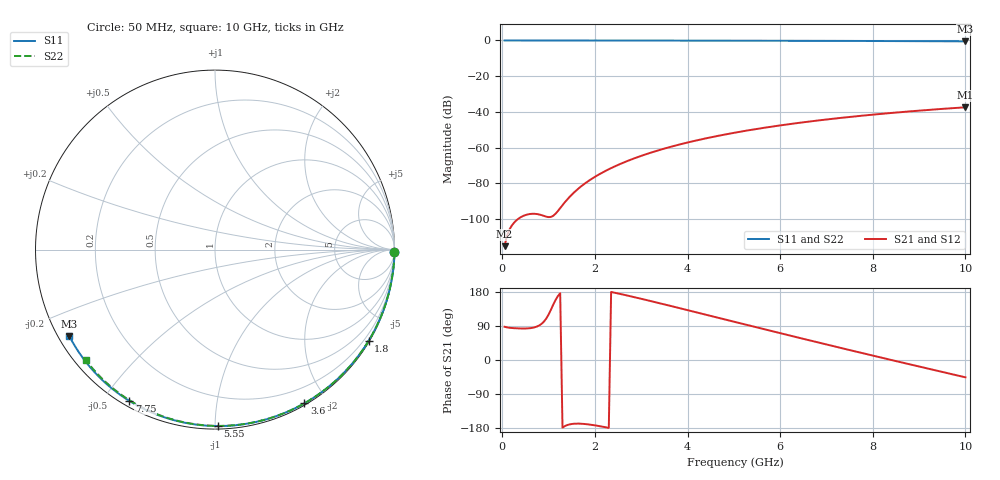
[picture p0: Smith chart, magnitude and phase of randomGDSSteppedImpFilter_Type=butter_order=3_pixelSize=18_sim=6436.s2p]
! freq	dB(S11)	phase(S11)	dB(S12)	phase(S12)
!  dB(S21)	phase(S21)	dB(S22)	phase(S22)
!S-par simulation data
#  GHz  S  DB  R 50
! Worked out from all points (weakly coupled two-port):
!   200 points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, 50 MHz to 10 GHz, reference 50 ohm
!   highest |S21| = -37.45 dB at 10 GHz (marker M1); lowest = -115.3 dB at 50 MHz (marker M2)
!   lowest |S11| = -0.5 dB at 10 GHz (marker M3), VSWR 34.59, Z = 1.55 - j13.7 ohm
!   |S11| at or under -10 dB: nowhere
!   |S22| runs from -0.5 to 0.0 dB; largest |S21 - S12| = 0
!   S11 on the Smith chart (normalised r, x): 50 MHz: open; 1.8 GHz: 0.03, -3.64; 3.6 GHz: 0.02, -1.74; 5.55 GHz: 0.02, -1.02; 7.75 GHz: 0.02, -0.58; 10 GHz: 0.03, -0.27
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0.05  -0.00 -0.9  -115.28 87.7  -115.28 87.7  -0.00 -0.8
0.45  -0.01 -7.8  -98.35 83.1  -98.35 83.1  -0.01 -7.3
0.9  -0.02 -15.5  -98.33 101.5  -98.33 101.5  -0.02 -14.4
1.3  -0.03 -22.3  -92.29 -178.4  -92.29 -178.4  -0.03 -20.8
1.75  -0.04 -29.9  -80.81 -168.6  -80.81 -168.6  -0.04 -27.8
1.8  -0.04 -30.7  -79.85 -169.1  -79.85 -169.1  -0.04 -28.6
1.95  -0.04 -33.2  -77.22 -171.5  -77.22 -171.5  -0.04 -30.9
2.1  -0.05 -35.7  -74.91 -174.5  -74.91 -174.5  -0.04 -33.3
2.3  -0.05 -39.0  -72.17 -179.2  -72.17 -179.2  -0.05 -36.3
2.5  -0.05 -42.3  -69.74 175.6  -69.74 175.6  -0.05 -39.4
2.9  -0.06 -48.8  -65.59 164.4  -65.59 164.4  -0.06 -45.5
3.4  -0.08 -56.7  -61.34 149.7  -61.34 149.7  -0.07 -52.9
3.6  -0.08 -59.9  -59.86 143.7  -59.86 143.7  -0.08 -55.9
4.3  -0.10 -70.6  -55.40 122.5  -55.40 122.5  -0.09 -66.0
5.05  -0.13 -81.8  -51.54 99.6  -51.54 99.6  -0.12 -76.5
5.55  -0.15 -89.1  -49.36 84.4  -49.36 84.4  -0.14 -83.3
6.1  -0.17 -96.9  -47.24 67.8  -47.24 67.8  -0.16 -90.7
6.7  -0.20 -105.3  -45.21 49.9  -45.21 49.9  -0.19 -98.5
7.75  -0.28 -119.5  -42.20 18.9  -42.20 18.9  -0.26 -111.9
8.35  -0.33 -127.5  -40.74 1.5  -40.74 1.5  -0.31 -119.3
9.2  -0.41 -138.7  -38.92 -22.9  -38.92 -22.9  -0.39 -129.8
10  -0.50 -149.3  -37.45 -45.7  -37.45 -45.7  -0.47 -139.5
